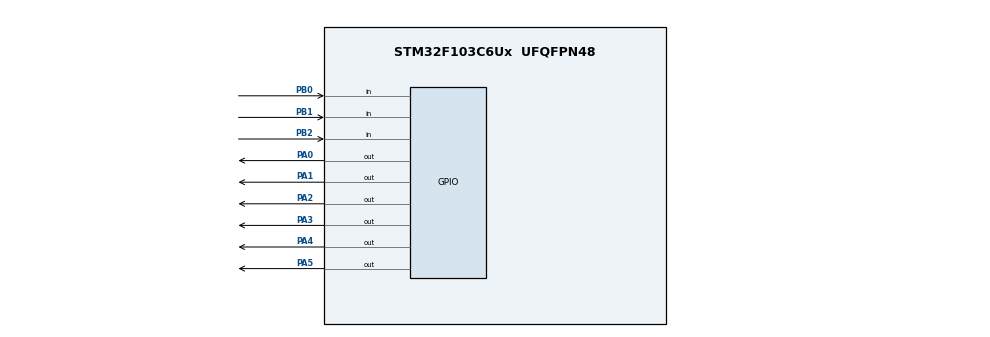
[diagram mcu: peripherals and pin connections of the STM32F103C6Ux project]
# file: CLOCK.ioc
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Mcu.Family=STM32F1
Mcu.Name=STM32F103C6Ux
Mcu.Package=UFQFPN48
NVIC.PriorityGroup=NVIC_PRIORITYGROUP_4
NVIC.RTC_IRQn=true\:0\:0\:false\:false\:true\:true\:true
PA0-WKUP.Signal=GPIO_Output
PA1.Signal=GPIO_Output
PA2.Signal=GPIO_Output
PA3.Signal=GPIO_Output
PA4.Signal=GPIO_Output
PA5.Signal=GPIO_Output
PB0.GPIO_PuPd=GPIO_PULLDOWN
PB0.Signal=GPIO_Input
PB1.GPIO_PuPd=GPIO_PULLDOWN
PB1.Signal=GPIO_Input
PB2.GPIO_PuPd=GPIO_PULLDOWN
PB2.Signal=GPIO_Input
ProjectManager.HeapSize=0x200
ProjectManager.StackSize=0x400
ProjectManager.TargetToolchain=MDK-ARM V5.27
RCC.APB1Freq_Value=8000000
RCC.APB2Freq_Value=8000000
VP_RTC_VS_RTC_Activate.Mode=RTC_Enabled
VP_SYS_VS_ND.Mode=No_Debug
board=custom

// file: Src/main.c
/* USER CODE BEGIN Header */
/**
  ******************************************************************************
  * @file           : main.c
  * @brief          : Main program body
  ******************************************************************************
  * @attention
  *
  * <h2><center>&copy; Copyright (c) 2020 STMicroelectronics.
  * All rights reserved.</center></h2>
  *
  * This software component is licensed by ST under BSD 3-Clause license,
  * the "License"; You may not use this file except in compliance with the
  * License. You may obtain a copy of the License at:
  *                        opensource.org/licenses/BSD-3-Clause
  *
  ******************************************************************************
  */
/* USER CODE END Header */

#include "main.h"

/* USER CODE BEGIN Includes */
#include "myLCD.h"

/* USER CODE END Includes */

/* USER CODE BEGIN PD */
#define TRUE 1
#define FALSE 0

#define SETUP_NONE		0
#define SETUP_HOUR 		1
#define SETUP_MINUTE 	2
#define SETUP_SECOND 	3

#define SETUP_DAY 		4
#define SETUP_MONTH 	5
#define SETUP_YEAR 		6
#define SETUP_WEEKDAY 7

#define SETUP_END			8
/* USER CODE END PD */

RTC_HandleTypeDef hrtc;

/* USER CODE BEGIN PV */
RTC_TimeTypeDef setup_time;
RTC_DateTypeDef setup_date;
uint8_t setupState = SETUP_NONE;
/* USER CODE END PV */

void SystemClock_Config(void);
static void MX_GPIO_Init(void);
static void MX_RTC_Init(void);

/* USER CODE BEGIN 0 */
void PrintTime(RTC_TimeTypeDef _time)
{
	myLCD_ClearLCDScreen();
	myLCD_Cursor(0,0);
	if(_time.Hours <10) myLCD_PrintStr("0");
	myLCD_PrintInt(_time.Hours);
	myLCD_PrintStr(":");
	if(_time.Minutes <10) myLCD_PrintStr("0");
	myLCD_PrintInt(_time.Minutes);
	myLCD_PrintStr(":");
	if(_time.Seconds <10) myLCD_PrintStr("0");
	myLCD_PrintInt(_time.Seconds);

	switch(setupState)
	{
		case SETUP_HOUR:
		{
			myLCD_PrintStr(" HOUR");
			break;
		}
		case SETUP_MINUTE:
		{
			myLCD_PrintStr(" MIN");
			break;
		}
		case SETUP_SECOND:
		{
			myLCD_PrintStr(" SEC");
			break;
		}

		case SETUP_DAY:
		{
			myLCD_PrintStr(" DAY");
			break;
		}
		case SETUP_MONTH:
		{
			myLCD_PrintStr(" MONTH");
			break;
		}
		case SETUP_YEAR:
		{
			myLCD_PrintStr(" YEAR");
			break;
		}
		case SETUP_WEEKDAY:
		{
			myLCD_PrintStr(" WDAY");
			break;
		}
	}
}

void PrintDate(RTC_DateTypeDef _date)
{
	myLCD_Cursor(1,0);
	if(_date.Date <10) myLCD_PrintStr("0");
	myLCD_PrintInt(_date.Date);
	myLCD_PrintStr(".");
	if(_date.Month <10) myLCD_PrintStr("0");
	myLCD_PrintInt(_date.Month);
	myLCD_PrintStr(".");
	if(_date.Year <10) myLCD_PrintStr("0");
	myLCD_PrintInt(_date.Year);

	switch(_date.WeekDay)
	{
		case 0 :
		{
			myLCD_PrintStr("  SUN");
			break;
		}
		case 1 :
		{
			myLCD_PrintStr("  MON");
			break;
		}
		case 2 :
		{
			myLCD_PrintStr("  TUE");
			break;
		}
		case 3 :
		{
			myLCD_PrintStr("  WED");
			break;
		}
		case 4 :
		{
			myLCD_PrintStr("  THU");
			break;
		}
		case 5 :
		{
			myLCD_PrintStr("  FRI");
			break;
		}
		case 6 :
		{
			myLCD_PrintStr("  SAT");
			break;
		}
	}
}
void SetupButton_Handler()
{
	setupState++;
	if(setupState == SETUP_END)
	{
		HAL_RTC_SetTime(&hrtc,&setup_time,FORMAT_BIN);
		HAL_RTC_SetDate(&hrtc,&setup_date,FORMAT_BIN);
		setupState = SETUP_NONE;
	}
	else if (setupState == SETUP_HOUR)
	{
		HAL_RTC_GetTime(&hrtc,&setup_time,RTC_FORMAT_BIN);
		HAL_RTC_GetDate(&hrtc,&setup_date,RTC_FORMAT_BIN);
	}

	PrintTime(setup_time);
	PrintDate(setup_date);
}

void PlusMinusButton_Handler(int8_t sign)
{
	if(setupState == SETUP_NONE) return;
	switch(setupState)
	{
			case SETUP_HOUR :
			{
				myLCD_ClearLCDScreen();
				//printf("SETUP_HOUR\n");
				setup_time.Hours+=sign;
				if(setup_time.Hours == 24) setup_time.Hours =0;
				if(setup_time.Hours == 255) setup_time.Hours =23;
				break;
			}
			case SETUP_MINUTE :
			{
				//printf("SETUP_MINUTE\n");
				setup_time.Minutes+=sign;
				if(setup_time.Minutes == 60) setup_time.Minutes =0;
				if(setup_time.Minutes == 255) setup_time.Minutes =59;
				break;
			}
			case SETUP_SECOND :
			{
				//printf("SETUP_SECOND\n");
				setup_time.Seconds+=sign;
				if(setup_time.Seconds == 60) setup_time.Seconds =0;
				if(setup_time.Seconds == 255) setup_time.Seconds =59;
				break;
			}
			case SETUP_YEAR :
			{
				//printf("SETUP_YEAR\n");
				setup_date.Year+=sign;
				if(setup_date.Year == 100) setup_date.Year =0;
				if(setup_date.Year == 255) setup_date.Year =99;
				break;
			}
			case SETUP_MONTH :
			{
				//printf("SETUP_MONTH\n");
				setup_date.Month+=sign;
				if(setup_date.Month == 13) setup_date.Month =0;
				if(setup_date.Month == 255) setup_date.Month =12;
				break;
			}
			case SETUP_DAY :
			{
				//printf("SETUP_DAY\n");
				setup_date.Date+=sign;
				if(setup_date.Date == 32) setup_date.Date =0;
				if(setup_date.Date == 255) setup_date.Date =31;
				break;
			}
			case SETUP_WEEKDAY :
			{
				//printf("SETUP_WEEKDAY\n");
				setup_date.WeekDay+=sign;
				if(setup_date.WeekDay == 7) setup_date.WeekDay =0;
				if(setup_date.WeekDay == 255) setup_date.WeekDay =6;
				break;
			}
	}
	PrintTime(setup_time);
	PrintDate(setup_date);
}

void CheckButtons()
{
	uint8_t pin0 = HAL_GPIO_ReadPin(GPIOB,GPIO_PIN_0);
	uint8_t pin1 = HAL_GPIO_ReadPin(GPIOB,GPIO_PIN_1);
	uint8_t pin2 = HAL_GPIO_ReadPin(GPIOB,GPIO_PIN_2);

	if(pin0==1)
	{
		SetupButton_Handler();
	}
	else if(pin1 == 1)
	{
		PlusMinusButton_Handler(1);
	}
	else if(pin2 == 1)
	{
		PlusMinusButton_Handler(-1);
	}
}

/* USER CODE END 0 */

int main(void)
{

  /* MCU Configuration--------------------------------------------------------*/

  /* Reset of all peripherals, Initializes the Flash interface and the Systick. */
  HAL_Init();

  /* Configure the system clock */
  SystemClock_Config();

  /* Initialize all configured peripherals */
  MX_GPIO_Init();
  MX_RTC_Init();
  /* USER CODE BEGIN 2 */
	myLCD_Initialize();
	RTC_TimeTypeDef time;
	RTC_DateTypeDef date;
  /* USER CODE END 2 */

  /* Infinite loop */
  /* USER CODE BEGIN WHILE */
  while (1)
  {
		if( HAL_GetTick()%1000 >990 && setupState == SETUP_NONE)
		{
			myLCD_ClearLCDScreen();
			HAL_RTC_GetTime(&hrtc,&time,RTC_FORMAT_BIN);
			HAL_RTC_GetDate(&hrtc,&date,RTC_FORMAT_BIN);
			PrintTime(time);
			PrintDate(date);
			//HAL_Delay(500);
		}
		CheckButtons();
    /* USER CODE END WHILE */

  }
}

void SystemClock_Config(void)
{
  RCC_OscInitTypeDef RCC_OscInitStruct = {0};
  RCC_ClkInitTypeDef RCC_ClkInitStruct = {0};
  RCC_PeriphCLKInitTypeDef PeriphClkInit = {0};

  /** Initializes the CPU, AHB and APB busses clocks
  */
  RCC_OscInitStruct.OscillatorType = RCC_OSCILLATORTYPE_HSI|RCC_OSCILLATORTYPE_LSI;
  RCC_OscInitStruct.HSIState = RCC_HSI_ON;
  RCC_OscInitStruct.HSICalibrationValue = RCC_HSICALIBRATION_DEFAULT;
  RCC_OscInitStruct.LSIState = RCC_LSI_ON;
  RCC_OscInitStruct.PLL.PLLState = RCC_PLL_NONE;
  if (HAL_RCC_OscConfig(&RCC_OscInitStruct) != HAL_OK)
  {
    Error_Handler();
  }
  /** Initializes the CPU, AHB and APB busses clocks
  */
  RCC_ClkInitStruct.ClockType = RCC_CLOCKTYPE_HCLK|RCC_CLOCKTYPE_SYSCLK
                              |RCC_CLOCKTYPE_PCLK1|RCC_CLOCKTYPE_PCLK2;
  RCC_ClkInitStruct.SYSCLKSource = RCC_SYSCLKSOURCE_HSI;
  RCC_ClkInitStruct.AHBCLKDivider = RCC_SYSCLK_DIV1;
  RCC_ClkInitStruct.APB1CLKDivider = RCC_HCLK_DIV1;
  RCC_ClkInitStruct.APB2CLKDivider = RCC_HCLK_DIV1;

  if (HAL_RCC_ClockConfig(&RCC_ClkInitStruct, FLASH_LATENCY_0) != HAL_OK)
  {
    Error_Handler();
  }
  PeriphClkInit.PeriphClockSelection = RCC_PERIPHCLK_RTC;
  PeriphClkInit.RTCClockSelection = RCC_RTCCLKSOURCE_LSI;
  if (HAL_RCCEx_PeriphCLKConfig(&PeriphClkInit) != HAL_OK)
  {
    Error_Handler();
  }
}

static void MX_RTC_Init(void)
{

  /** Initialize RTC Only
  */
  hrtc.Instance = RTC;
  hrtc.Init.AsynchPrediv = RTC_AUTO_1_SECOND;
  hrtc.Init.OutPut = RTC_OUTPUTSOURCE_ALARM;
  if (HAL_RTC_Init(&hrtc) != HAL_OK)
  {
    Error_Handler();
  }

}

static void MX_GPIO_Init(void)
{
  GPIO_InitTypeDef GPIO_InitStruct = {0};

  /* GPIO Ports Clock Enable */
  __HAL_RCC_GPIOA_CLK_ENABLE();
  __HAL_RCC_GPIOB_CLK_ENABLE();

  /*Configure GPIO pin Output Level */
  HAL_GPIO_WritePin(GPIOA, GPIO_PIN_0|GPIO_PIN_1|GPIO_PIN_2|GPIO_PIN_3
                          |GPIO_PIN_4|GPIO_PIN_5, GPIO_PIN_RESET);

  /*Configure GPIO pins : PA0 PA1 PA2 PA3
                           PA4 PA5 */
  GPIO_InitStruct.Pin = GPIO_PIN_0|GPIO_PIN_1|GPIO_PIN_2|GPIO_PIN_3
                          |GPIO_PIN_4|GPIO_PIN_5;
  GPIO_InitStruct.Mode = GPIO_MODE_OUTPUT_PP;
  GPIO_InitStruct.Pull = GPIO_NOPULL;
  GPIO_InitStruct.Speed = GPIO_SPEED_FREQ_LOW;
  HAL_GPIO_Init(GPIOA, &GPIO_InitStruct);

  /*Configure GPIO pins : PB0 PB1 PB2 */
  GPIO_InitStruct.Pin = GPIO_PIN_0|GPIO_PIN_1|GPIO_PIN_2;
  GPIO_InitStruct.Mode = GPIO_MODE_INPUT;
  GPIO_InitStruct.Pull = GPIO_PULLDOWN;
  HAL_GPIO_Init(GPIOB, &GPIO_InitStruct);

}

void Error_Handler(void)
{
}

/************************ (C) COPYRIGHT STMicroelectronics *****END OF FILE****/
